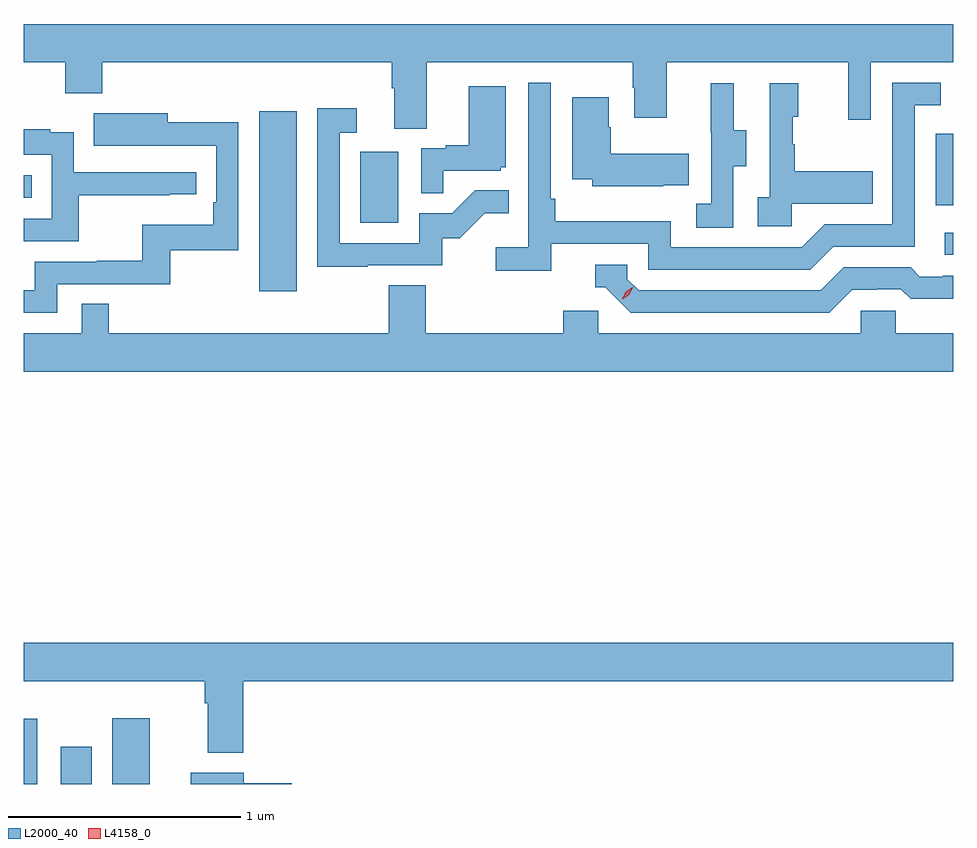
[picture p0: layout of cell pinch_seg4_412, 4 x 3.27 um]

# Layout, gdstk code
import gdstk
lib = gdstk.Library(unit=1e-6, precision=1e-09)
def R(c, l, rs):  # rectangles x0, y0, x1, y1
    for r in rs: c.add(gdstk.rectangle(r[:2], r[2:], *l))
def P(c, l, *ps):  # polygons
    for p in ps: c.add(gdstk.Polygon(p, *l))
L2000_40 = (2000, 40)
L4158_0 = (4158, 0)

pinch_seg4_412 = lib.new_cell('pinch_seg4_412')
R(pinch_seg4_412, L2000_40, [(996.372,768.405,996.43,768.685), (996.53,768.405,996.664,768.565), (996.752,768.405,996.913,768.688), (997.385,770.526,997.546,771.301), (1000.335,770.682,1000.372,770.778), (997.82,770.82,997.984,771.127), (1000.296,770.895,1000.372,771.204), (996.372,770.928,996.407,771.024)])
P(pinch_seg4_412, L2000_40, [(998.107,771.512),(998.992,771.512),(998.992,771.401),(998.999,771.401),(998.999,771.273),(999.139,771.273),(999.139,771.512),(999.92,771.512),(999.92,771.264),(1000.017,771.264),(1000.017,771.512),(1000.372,771.512),(1000.372,771.676),(996.372,771.676),(996.372,771.512),(996.55,771.512),(996.55,771.377),(996.71,771.377),(996.71,771.512),(997.955,771.512),(997.955,771.4),(997.967,771.4),(997.967,771.226),(998.107,771.226)],
  [(998.642,770.73),(999.06,770.73),(999.06,770.619),(999.757,770.619),(999.856,770.718),(1000.206,770.718),(1000.206,771.327),(1000.319,771.327),(1000.319,771.423),(1000.11,771.423),(1000.11,770.814),(999.819,770.814),(999.72,770.715),(999.156,770.715),(999.156,770.827),(998.66,770.827),(998.66,770.923),(998.64,770.923),(998.64,771.424),(998.544,771.424),(998.544,770.716),(998.403,770.716),(998.403,770.614),(998.642,770.614)],
  [(999.678,770.903),(1000.025,770.903),(1000.025,771.043),(999.691,771.043),(999.691,771.158),(999.681,771.158),(999.681,771.276),(999.706,771.276),(999.706,771.421),(999.582,771.421),(999.582,770.93),(999.531,770.93),(999.531,770.805),(999.678,770.805)],
  [(999.426,771.064),(999.481,771.064),(999.481,771.219),(999.427,771.219),(999.427,771.421),(999.329,771.421),(999.329,771.207),(999.33,771.207),(999.33,770.903),(999.267,770.903),(999.267,770.8),(999.426,770.8)],
  [(998.177,771.045),(998.424,771.045),(998.424,771.06),(998.446,771.06),(998.446,771.409),(998.288,771.409),(998.288,771.154),(998.189,771.154),(998.189,771.141),(998.082,771.141),(998.082,770.947),(998.177,770.947)],
  [(999.125,770.981),(999.233,770.981),(999.233,771.118),(998.898,771.118),(998.898,771.231),(998.89,771.231),(998.89,771.361),(998.732,771.361),(998.732,771.008),(998.819,771.008),(998.819,770.978),(999.125,770.978)],
  [(997.853,770.637),(998.172,770.637),(998.172,770.754),(998.248,770.754),(998.355,770.861),(998.459,770.861),(998.459,770.96),(998.315,770.96),(998.217,770.862),(998.073,770.862),(998.073,770.733),(997.731,770.733),(997.731,771.207),(997.804,771.207),(997.804,771.313),(997.635,771.313),(997.635,770.632),(997.853,770.632)],
  [(996.516,770.556),(997.003,770.556),(997.003,770.703),(997.296,770.703),(997.296,771.254),(996.991,771.254),(996.991,771.292),(996.673,771.292),(996.673,771.152),(996.887,771.152),(996.887,771.153),(997.2,771.153),(997.2,770.908),(997.187,770.908),(997.187,770.812),(996.882,770.812),(996.882,770.657),(996.685,770.657),(996.685,770.652),(996.42,770.652),(996.42,770.529),(996.372,770.529),(996.372,770.433),(996.516,770.433)],
  [(996.608,770.938),(997.001,770.938),(997.001,770.943),(997.114,770.943),(997.114,771.039),(996.588,771.039),(996.588,771.211),(996.485,771.211),(996.485,771.223),(996.372,771.223),(996.372,771.114),(996.492,771.114),(996.492,770.838),(996.372,770.838),(996.372,770.742),(996.608,770.742)],
  [(999.937,770.532),(1000.044,770.532),(1000.044,770.535),(1000.147,770.535),(1000.189,770.493),(1000.372,770.493),(1000.372,770.592),(1000.327,770.592),(1000.327,770.589),(1000.228,770.589),(1000.189,770.628),(999.9,770.628),(999.801,770.529),(999.018,770.529),(998.97,770.577),(998.97,770.64),(998.831,770.64),(998.831,770.544),(998.874,770.544),(998.985,770.433),(999.838,770.433)],
  [(1000.372,770.344),(1000.125,770.344),(1000.125,770.442),(999.975,770.442),(999.975,770.344),(998.844,770.344),(998.844,770.442),(998.693,770.442),(998.693,770.344),(998.102,770.344),(998.102,770.552),(997.942,770.552),(997.942,770.344),(996.737,770.344),(996.737,770.471),(996.621,770.471),(996.621,770.344),(996.372,770.344),(996.372,770.18),(1000.372,770.18)],
  [(997.316,768.848),(1000.372,768.848),(1000.372,769.012),(996.372,769.012),(996.372,768.848),(997.151,768.848),(997.151,768.752),(997.163,768.752),(997.163,768.539),(997.316,768.539)],
  [(997.526,768.409),(997.318,768.409),(997.318,768.454),(997.091,768.454),(997.091,768.405),(997.526,768.405)])
P(pinch_seg4_412, L4158_0, [(998.947,770.491),(998.947,770.491),(998.962,770.524),(998.993,770.544),(998.993,770.544),(998.993,770.544),(998.978,770.511),(998.948,770.491)])

lib.write_gds('pinch_seg4_412.gds')
